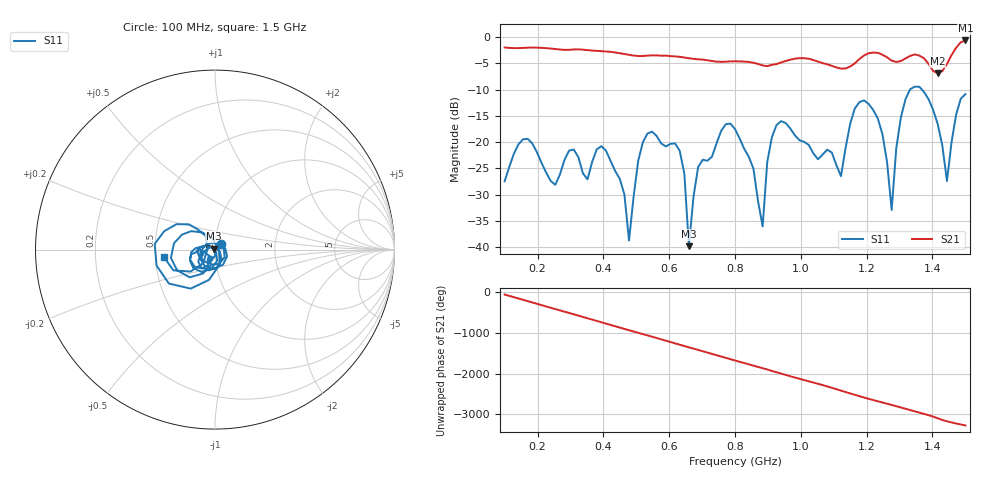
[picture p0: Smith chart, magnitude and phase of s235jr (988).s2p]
! NanoVNA-App
! Date: 2025-09-25 15:11:51
! Start: 100MHz Stop: 1,5GHz Points: 101
! S-Parameter data: F S11 S21 S12 S22
# Hz S RI R 50
!  Frequency  S11_Real  S11_Imag  S21_Real  S21_Imag  S12_Real  S12_Imag  S22_Real  S22_Imag
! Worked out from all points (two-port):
!   101 points, 100 MHz to 1.5 GHz, reference 50 ohm
!   highest |S21| = -0.63 dB at 1.5 GHz (marker M1); lowest = -6.9 dB at 1.416 GHz (marker M2)
!   |S21| within 3 dB of the highest: start of sweep to 607.1 MHz; 1.189 GHz to 1.256 GHz (66.61 MHz wide, 5.45 % of centre) (the widest 2 of 4)
!   lowest |S11| = -39.8 dB at 660 MHz (marker M3), VSWR 1.02, Z = 49.2 + j0.599 ohm
!   |S11| at or under -10 dB: start of sweep to 1.331 GHz; 1.368 GHz to end of sweep
!   S12 and S22 are empty: the file has one direction only
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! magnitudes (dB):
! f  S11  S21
! 100 MHz  -27.5  -2.0
! 156 MHz  -19.5  -2.0
! 338 MHz  -26.0  -2.4
! 408 MHz  -21.6  -2.7
! 478 MHz  -38.8  -3.4
! 520 MHz  -20.0  -3.6
! 576 MHz  -20.3  -3.5
! 632 MHz  -21.7  -3.7
! 660 MHz  -39.8  -4.0
! 688 MHz  -24.8  -4.2
! 800 MHz  -17.5  -4.6
! 884 MHz  -36.1  -5.4
! 926 MHz  -16.8  -5.1
! 1.038 GHz  -22.1  -4.4
! 1.122 GHz  -26.5  -6.0
! 1.192 GHz  -12.0  -3.5
! 1.248 GHz  -18.5  -3.4
! 1.276 GHz  -32.9  -4.5
! 1.332 GHz  -9.9  -3.6
! 1.416 GHz  -16.6  -6.9
! 1.444 GHz  -27.4  -5.1
! 1.5 GHz  -10.9  -0.6
